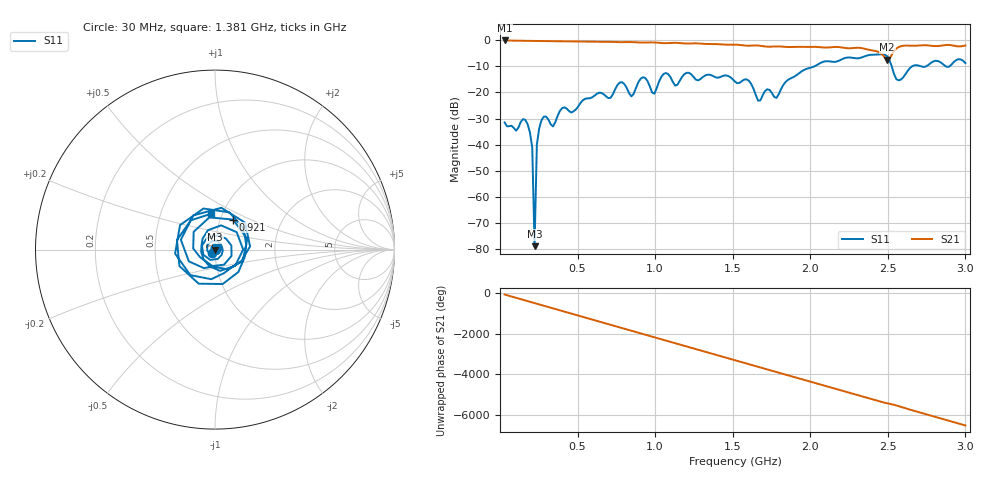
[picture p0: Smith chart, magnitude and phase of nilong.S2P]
!Agilent Technologies,E5061B,MY49304813,A.02.21
!Date: Sun Jun 23 21:38:15 2019
!Data & Calibration Information:
!Freq	S11:SOLT2(OFF)	S21:SOLT2(OFF)	S12:SOLT2(OFF)	S22:SOLT2(OFF)
# Hz S dB R 50
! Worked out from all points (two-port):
!   201 points, 30 MHz to 3 GHz, reference 50 ohm
!   highest |S21| = -0.09 dB at 30 MHz (marker M1); lowest = -7.4 dB at 2.495 GHz (marker M2)
!   |S21| within 3 dB of the highest: start of sweep to 2.337 GHz; 2.557 GHz to end of sweep
!   lowest |S11| = -78.9 dB at 223.1 MHz (marker M3), VSWR 1.00, Z = 50 + j0.000559 ohm
!   |S11| at or under -10 dB: start of sweep to 2.027 GHz; 2.525 GHz to 2.657 GHz (131.5 MHz wide, 5.08 % of centre); 2.714 GHz to 2.748 GHz (33.6 MHz wide, 1.23 % of centre)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
!   S12 and S22 are empty: the file has one direction only
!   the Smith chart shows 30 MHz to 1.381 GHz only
!   S11 on the Smith chart (normalised r, x): 30 MHz: 0.97, -0.04; 921 MHz: 1.15, +0.40; 1.381 GHz: 0.88, +0.37
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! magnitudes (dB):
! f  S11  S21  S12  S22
! 30 MHz  -31.5  -0.1  -  -
! 193.3 MHz  -35.3  -0.3  -  -
! 208.2 MHz  -41.2  -0.3  -  -
! 223.1 MHz  -78.9  -0.3  -  -
! 237.9 MHz  -40.0  -0.3  -  -
! 267.6 MHz  -30.7  -0.3  -  -
! 341.9 MHz  -33.0  -0.4  -  -
! 534.9 MHz  -23.0  -0.5  -  -
! 787.4 MHz  -16.1  -0.7  -  -
! 846.8 MHz  -21.5  -0.7  -  -
! 921 MHz  -14.2  -0.9  -  -
! 995.2 MHz  -20.5  -0.8  -  -
! 1.025 GHz  -15.9  -1.0  -  -
! 1.381 GHz  -14.0  -1.5  -  -
! 1.515 GHz  -15.9  -1.7  -  -
! 1.782 GHz  -22.1  -2.4  -  -
! 2.02 GHz  -10.2  -2.5  -  -
! 2.495 GHz  -6.1  -7.4  -  -
! 2.51 GHz  -7.5  -7.2  -  -
! 2.569 GHz  -15.4  -2.6  -  -
! 2.673 GHz  -9.6  -2.1  -  -
! 3 GHz  -8.7  -2.0  -  -
